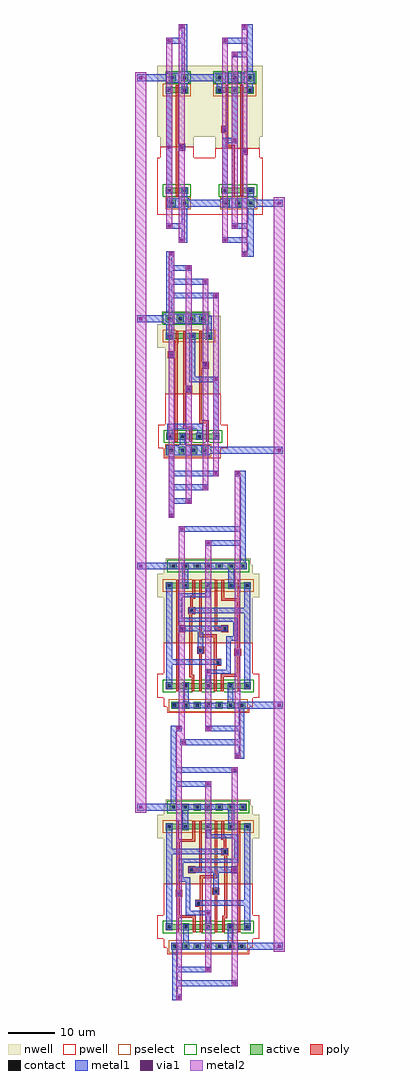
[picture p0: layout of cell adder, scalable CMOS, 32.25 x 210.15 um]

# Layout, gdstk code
from math import pi, radians
import gdstk
lib = gdstk.Library(unit=1e-6, precision=1e-09)
def R(c, l, rs):  # rectangles x0, y0, x1, y1
    for r in rs: c.add(gdstk.rectangle(r[:2], r[2:], *l))
def A(c, l, x, y, w, h, nx, ny, dx, dy):  # array of equal rectangles
    R(c, l, [(x+i*dx, y+j*dy, x+i*dx+w, y+j*dy+h) for i in range(nx) for j in range(ny)])
contact = (25, 0)
pwell = (41, 0)
nwell = (42, 0)
active = (43, 0)
pselect = (44, 0)
nselect = (45, 0)
poly = (46, 0)
metal1 = (49, 0)
via1 = (50, 0)
metal2 = (51, 0)

not_ = lib.new_cell('NOT')
R(not_, contact, [(-13.5,-12.45,-12.9,-11.85), (-10.8,-12.45,-10.2,-11.85), (-13.5,-9.75,-12.9,-9.15), (-10.2,-9.75,-9.6,-9.15), (-12.9,-0.45,-12.3,0.15), (-13.5,11.85,-12.9,12.45), (-10.2,11.85,-9.6,12.45), (-13.5,14.55,-12.9,15.15), (-10.8,14.55,-10.2,15.15)])
R(not_, pwell, [(-15.15,-13.8,-7.95,0), (-14.85,-13.8,-11.55,-10.5), (-12.15,-13.8,-8.85,-10.5), (-15.75,-12,-10.65,-6.9), (-12.45,-12,-7.35,-6.9), (-14.55,-11.85,-8.55,-7.05), (-12.675,-11.808,-7.8,-7.308), (-15.3,-11.7,-10.425,-7.2), (-12.15,-11.7,-7.65,-7.05)])
R(not_, nwell, [(-15.15,0,-7.95,16.8), (-15.75,9.6,-10.65,14.7), (-12.45,9.6,-7.35,14.7), (-14.55,9.75,-8.55,14.55), (-15.3,9.93,-10.425,14.43), (-12.675,9.93,-7.8,14.43), (-14.85,13.2,-11.55,16.5), (-12.15,13.2,-8.85,16.5)])
R(not_, active, [(-13.95,-12.9,-12.45,-11.4), (-11.25,-12.9,-9.75,-11.4), (-13.95,-10.2,-12.45,-8.7), (-10.65,-10.2,-9.15,-8.7), (-12.75,-10.05,-10.35,-8.85), (-10.875,-10.008,-9.6,-9.108), (-13.5,-9.9,-12.225,-9), (-10.35,-9.9,-9.45,-8.85), (-13.95,11.4,-12.45,12.9), (-10.65,11.4,-9.15,12.9), (-12.75,11.55,-10.35,12.75), (-13.5,11.73,-12.225,12.63), (-10.875,11.73,-9.6,12.63), (-13.95,14.1,-12.45,15.6), (-11.25,14.1,-9.75,15.6)])
R(not_, pselect, [(-14.55,-13.5,-11.85,-10.8), (-11.85,-13.5,-9.15,-10.8), (-14.55,10.8,-11.85,13.5), (-11.25,10.8,-8.55,13.5), (-13.35,10.95,-9.75,13.35), (-14.1,11.13,-11.625,13.23), (-11.475,11.13,-9,13.23)])
R(not_, nselect, [(-14.55,-10.8,-11.85,-8.1), (-11.25,-10.8,-8.55,-8.1), (-13.35,-10.65,-9.75,-8.25), (-11.475,-10.608,-9,-8.508), (-14.1,-10.5,-11.625,-8.4), (-10.95,-10.5,-8.85,-8.25), (-14.55,13.5,-11.85,16.2), (-11.85,13.5,-9.15,16.2)])
R(not_, poly, [(-11.85,-10.65,-11.25,-8.25), (-11.85,-8.55,-11.25,0.15), (-13.35,-0.9,-11.85,0.6), (-12.75,-0.45,-11.25,0.15), (-11.85,-0.45,-11.25,11.25), (-11.85,10.95,-11.25,13.35)])
R(not_, metal1, [(-14.25,-13.2,-9.45,-11.1), (-13.8,-12.75,-12.6,-11.55), (-13.8,-12.75,-12.6,-8.85), (-11.1,-12.75,-9.9,-11.55), (-13.8,-10.05,-12.6,-8.85), (-10.5,-10.05,-9.3,-8.85), (-10.5,-10.05,-9.3,0.45), (-13.35,-0.75,-12.15,0.45), (-13.2,-0.75,-12,0.45), (-13.2,-0.75,-12,0.45), (-10.5,-0.75,-9.3,0.45), (-10.5,-0.75,-9.3,12.78), (-10.35,-0.6,-9.45,0.3), (-13.8,11.55,-12.6,12.75), (-13.8,11.55,-12.6,15.45), (-10.5,11.55,-9.3,12.75), (-14.25,13.8,-9.45,15.9), (-13.8,14.25,-12.6,15.45), (-13.8,14.25,-12.45,15.45), (-11.1,14.25,-9.9,15.45)])
R(not_, via1, [(-12.9,-0.45,-12.3,0.15), (-10.2,-0.45,-9.6,0.15)])
R(not_, metal2, [(-13.2,-0.75,-12,0.45), (-10.5,-0.75,-9.3,0.45)])

nand = lib.new_cell('NAND')
A(nand, contact, -23.4, 12.3, 0.6, 0.6, 3, 2, 3.3, 2.7)
R(nand, contact, [(-23.55,-12,-22.95,-11.4), (-21,-12,-20.4,-11.4), (-18.3,-12,-17.7,-11.4), (-23.55,-9.3,-22.95,-8.7), (-18,-9.3,-17.4,-8.7), (-22.2,-0.9,-21.6,-0.3), (-18,3.9,-17.4,4.5)])
R(nand, pwell, [(-25.2,-13.65,-15.6,0.15), (-24.9,-13.35,-21.6,-10.05), (-22.35,-13.35,-19.05,-10.05), (-19.65,-13.35,-16.35,-10.05), (-25.8,-11.55,-20.7,-6.45), (-20.25,-11.55,-15.15,-6.45), (-24.3,-11.4,-18.3,-6.6), (-22.5,-11.4,-16.5,-6.6), (-25.35,-11.25,-20.175,-6.75), (-22.875,-11.25,-17.925,-6.75), (-20.625,-11.25,-15.6,-6.75)])
A(nand, nwell, -25.65, 10.05, 5.1, 5.1, 3, 1, 3.3, 0)
A(nand, nwell, -24.75, 13.65, 3.3, 3.3, 3, 1, 3.3, 0)
R(nand, nwell, [(-25.2,0.15,-15.6,16.95), (-24.3,10.2,-18.3,15), (-21.15,10.2,-15.15,15), (-25.2,10.35,-20.175,14.85), (-22.425,10.35,-17.55,14.85), (-22.05,10.35,-17.025,14.85), (-19.275,10.35,-14.4,14.85)])
A(nand, active, -23.85, 11.85, 1.5, 1.5, 3, 2, 3.3, 2.7)
R(nand, active, [(-24,-12.45,-22.5,-10.95), (-21.45,-12.45,-19.95,-10.95), (-18.75,-12.45,-17.25,-10.95), (-24,-9.75,-22.5,-8.25), (-18.45,-9.75,-16.95,-8.25), (-22.5,-9.6,-20.1,-8.4), (-20.7,-9.6,-18.3,-8.4), (-23.55,-9.45,-21.975,-8.55), (-21.075,-9.45,-19.725,-8.55), (-18.825,-9.45,-17.4,-8.55), (-22.5,12,-20.1,13.2), (-19.35,12,-16.95,13.2), (-23.4,12.15,-21.975,13.05), (-20.625,12.15,-19.35,13.05), (-20.25,12.15,-18.825,13.05), (-17.475,12.15,-16.2,13.05)])
A(nand, pselect, -24.45, 11.25, 2.7, 2.7, 3, 1, 3.3, 0)
R(nand, pselect, [(-24.6,-13.05,-21.9,-10.35), (-22.05,-13.05,-19.35,-10.35), (-19.35,-13.05,-16.65,-10.35), (-23.1,11.4,-19.5,13.8), (-19.95,11.4,-16.35,13.8), (-24,11.55,-21.375,13.65), (-21.225,11.55,-18.75,13.65), (-20.85,11.55,-18.225,13.65), (-18.075,11.55,-15.6,13.65)])
A(nand, nselect, -24.45, 13.95, 2.7, 2.7, 3, 1, 3.3, 0)
R(nand, nselect, [(-24.6,-10.35,-21.9,-7.65), (-19.05,-10.35,-16.35,-7.65), (-23.1,-10.2,-19.5,-7.8), (-21.3,-10.2,-17.7,-7.8), (-24.15,-10.05,-21.375,-7.95), (-21.675,-10.05,-19.125,-7.95), (-19.425,-10.05,-16.8,-7.95)])
R(nand, poly, [(-21.6,-10.2,-21,-7.8), (-19.8,-10.2,-19.2,-7.8), (-21.6,-8.1,-21,-0.3), (-19.8,-8.1,-19.2,0.9), (-22.65,-1.35,-21.15,0.15), (-22.2,-0.9,-21,-0.3), (-21.6,-0.9,-21,11.7), (-19.8,0.3,-17.85,0.9), (-18.45,0.3,-17.85,4.5), (-18.45,3.45,-16.95,4.95), (-18.45,3.9,-17.85,11.7), (-18.45,3.9,-17.4,4.5), (-21.6,11.4,-21,13.8), (-18.45,11.4,-17.85,13.8)])
A(nand, metal1, -23.7, 12, 1.2, 1.2, 3, 2, 3.3, 2.7)
R(nand, metal1, [(-24.3,-12.75,-19.65,-10.65), (-21.75,-12.75,-16.95,-10.65), (-23.85,-12.3,-22.65,-11.1), (-23.85,-12.3,-22.65,-8.4), (-21.3,-12.3,-20.1,-11.1), (-18.6,-12.3,-17.4,-11.1), (-23.85,-9.6,-22.65,-8.4), (-18.3,-9.6,-17.1,-8.4), (-18.3,-9.6,-17.1,2.4), (-22.5,-1.2,-21.3,0), (-22.5,-1.2,-21.3,0), (-22.35,-1.05,-21.45,-0.15), (-20.4,1.2,-19.2,2.4), (-20.4,1.2,-19.2,13.2), (-20.4,1.2,-17.1,2.4), (-18.3,3.6,-17.1,4.8), (-18.3,3.6,-17.1,4.8), (-18.15,3.75,-17.25,4.65), (-23.7,12,-22.5,15.9), (-17.1,12,-15.9,15.9), (-24.15,14.25,-18.75,16.35), (-20.85,14.25,-15.45,16.35), (-23.7,14.7,-22.35,15.9), (-17.25,14.7,-15.9,15.9)])
R(nand, via1, [(-22.2,-0.9,-21.6,-0.3), (-20.1,1.5,-19.5,2.1), (-18,3.9,-17.4,4.5)])
R(nand, metal2, [(-22.5,-1.2,-21.3,0), (-20.4,1.2,-19.2,2.4), (-18.3,3.6,-17.1,4.8)])

oai21 = lib.new_cell('OAI21')
A(oai21, contact, -8.25, -16.65, 0.6, 0.6, 4, 1, 2.4, 0)
A(oai21, contact, -5.85, -13.65, 0.6, 0.6, 3, 1, 3.6, 0)
A(oai21, contact, -8.7, 11.7, 0.6, 0.6, 4, 1, 2.4, 0)
R(oai21, contact, [(-8.55,-13.65,-7.95,-13.05), (-4.5,-3.45,-3.9,-2.85), (-0.9,1.65,-0.3,2.25), (-8.25,3.9,-7.65,4.5), (-8.7,7.95,-8.1,8.55), (-3.75,7.95,-3.15,8.55), (-0.15,7.95,0.45,8.55)])
A(oai21, pwell, -9.6, -18, 3.3, 3.3, 4, 1, 2.4, 0)
A(oai21, pwell, -8.1, -15.9, 5.1, 5.1, 3, 1, 3.6, 0)
R(oai21, pwell, [(-9.3,-18,2.7,-4.2), (-10.8,-15.9,-5.7,-10.8), (-9.9,-15.75,-3.9,-10.95), (-6.75,-15.75,-0.75,-10.95), (-3.15,-15.75,2.85,-10.95), (-10.65,-15.6,-5.775,-11.1), (-8.025,-15.6,-3.45,-11.1), (-7.95,-15.6,-2.625,-11.1), (-4.875,-15.6,0.45,-11.1), (-4.05,-15.6,0.975,-11.1), (-1.275,-15.6,4.05,-11.1)])
A(oai21, nwell, -10.05, 10.35, 3.3, 3.3, 4, 1, 2.4, 0)
R(oai21, nwell, [(-9.3,-4.2,2.7,12.6), (-10.95,5.7,-5.85,10.8), (-6,5.7,-0.9,10.8), (-2.4,5.7,2.7,10.8), (-9.75,5.85,-3.75,10.65), (-8.1,5.85,-2.1,10.65), (-4.65,5.85,1.35,10.65), (-10.8,6,-5.625,10.5), (-8.475,6,-3.375,10.5), (-6.225,6,-1.2,10.5), (-5.7,6,-0.525,10.5), (-2.775,6,2.55,10.5), (-10.05,10.35,-4.35,13.65)])
A(oai21, active, -8.7, -17.1, 1.5, 1.5, 4, 1, 2.4, 0)
A(oai21, active, -6.3, -14.1, 1.5, 1.5, 3, 1, 3.6, 0)
A(oai21, active, -9.15, 11.25, 1.5, 1.5, 4, 1, 2.4, 0)
R(oai21, active, [(-9,-14.1,-7.5,-12.6), (-8.1,-13.95,-5.7,-12.75), (-4.95,-13.95,-2.55,-12.75), (-1.35,-13.95,1.05,-12.75), (-8.85,-13.8,-7.575,-12.9), (-6.225,-13.8,-5.25,-12.9), (-6.15,-13.8,-4.425,-12.9), (-3.075,-13.8,-1.35,-12.9), (-2.25,-13.8,-0.825,-12.9), (0.525,-13.8,2.25,-12.9), (-9.15,7.5,-7.65,9), (-4.2,7.5,-2.7,9), (-0.6,7.5,0.9,9), (-7.95,7.65,-5.55,8.85), (-6.3,7.65,-3.9,8.85), (-2.85,7.65,-0.45,8.85), (-9,7.8,-7.425,8.7), (-6.675,7.8,-5.175,8.7), (-4.425,7.8,-3,8.7), (-3.9,7.8,-2.325,8.7), (-0.975,7.8,0.75,8.7)])
A(oai21, pselect, -9.3, -17.7, 2.7, 2.7, 4, 1, 2.4, 0)
R(oai21, pselect, [(-9.75,6.9,-7.05,9.6), (-4.8,6.9,-2.1,9.6), (-1.2,6.9,1.5,9.6), (-8.55,7.05,-4.95,9.45), (-6.9,7.05,-3.3,9.45), (-3.45,7.05,0.15,9.45), (-9.6,7.2,-6.825,9.3), (-7.275,7.2,-4.575,9.3), (-5.025,7.2,-2.4,9.3), (-4.5,7.2,-1.725,9.3), (-1.575,7.2,1.35,9.3)])
A(oai21, nselect, -6.9, -14.7, 2.7, 2.7, 3, 1, 3.6, 0)
A(oai21, nselect, -9.75, 10.65, 2.7, 2.7, 4, 1, 2.4, 0)
R(oai21, nselect, [(-9.6,-14.7,-6.9,-12), (-8.7,-14.55,-5.1,-12.15), (-5.55,-14.55,-1.95,-12.15), (-1.95,-14.55,1.65,-12.15), (-9.45,-14.4,-6.975,-12.3), (-6.825,-14.4,-4.65,-12.3), (-6.75,-14.4,-3.825,-12.3), (-3.675,-14.4,-0.75,-12.3), (-2.85,-14.4,-0.225,-12.3), (-0.075,-14.4,2.85,-12.3)])
R(oai21, poly, [(-7.2,-14.55,-6.6,-12.15), (-4.05,-14.55,-3.45,-12.15), (-0.45,-14.55,0.15,-12.15), (-7.2,-12.45,-6.6,4.5), (-4.05,-12.45,-3.45,-11.25), (-0.45,-12.45,0.15,-9.9), (-5.4,-11.85,-3.45,-11.25), (-5.4,-11.85,-4.8,-2.85), (-1.95,-10.5,0.15,-9.9), (-1.95,-10.5,-1.35,2.25), (-4.95,-3.9,-3.45,-2.4), (-5.4,-3.45,-4.8,7.35), (-5.4,-3.45,-3.75,-2.85), (-1.35,1.2,0.15,2.7), (-1.95,1.65,-1.35,7.35), (-1.95,1.65,-0.15,2.25), (-8.7,3.45,-7.2,4.95), (-8.4,3.9,-6.6,4.5), (-7.2,3.9,-6.6,6.15), (-7.2,5.55,-6.6,7.35), (-7.2,6.75,-6.45,7.35), (-7.05,7.05,-6.45,9.45), (-5.4,7.05,-4.8,9.45), (-1.95,7.05,-1.35,9.45)])
A(oai21, metal1, -9, -17.4, 4.5, 2.1, 3, 1, 2.4, 0)
A(oai21, metal1, -8.55, -16.95, 1.2, 1.2, 4, 1, 2.4, 0)
A(oai21, metal1, -6.15, -13.95, 1.2, 1.2, 3, 1, 3.6, 0)
A(oai21, metal1, -9.45, 10.95, 4.5, 2.1, 3, 1, 2.4, 0)
A(oai21, metal1, -9, 11.4, 1.2, 1.2, 4, 1, 2.4, 0)
R(oai21, metal1, [(-6.15,-16.95,-4.95,-12.75), (-8.85,-13.95,-7.65,-12.75), (-8.85,-13.95,-7.65,-10.65), (-2.4,-13.95,-1.2,-10.65), (1.05,-13.95,2.25,-0.45), (-8.85,-11.85,-1.2,-10.65), (-4.8,-3.75,-3.6,-2.55), (-4.8,-3.75,-3.6,-2.55), (-4.65,-3.6,-3.75,-2.7), (-4.05,-1.65,-2.85,8.85), (-4.05,-1.65,2.25,-0.45), (1.05,-1.65,2.25,-0.45), (-1.2,1.35,0,2.55), (-1.2,1.35,0,2.55), (-1.05,1.5,-0.15,2.4), (-8.55,3.6,-7.35,4.8), (-8.55,3.6,-7.35,4.8), (-8.4,3.75,-7.5,4.65), (-9,7.65,-7.8,8.85), (-9,7.65,-7.8,12.6), (-4.05,7.65,-2.85,8.85), (-0.45,7.65,0.75,8.85), (-0.45,7.65,0.75,12.6), (-1.8,11.4,0.75,12.6)])
R(oai21, via1, [(-4.5,-3.45,-3.9,-2.85), (1.35,-1.35,1.95,-0.75), (-0.9,1.65,-0.3,2.25), (-8.25,3.9,-7.65,4.5)])
R(oai21, metal2, [(-4.8,-3.75,-3.6,-2.55), (1.05,-1.65,2.25,-0.45), (-1.2,1.35,0,2.55), (-8.55,3.6,-7.35,4.8)])

xnor = lib.new_cell('XNOR')
A(xnor, contact, -53.85, -16.5, 0.6, 0.6, 7, 1, 2.4, 0)
A(xnor, contact, -51.45, -12.3, 0.6, 0.6, 3, 1, 4.8, 0)
A(xnor, contact, -51.6, 9.3, 0.6, 0.6, 3, 1, 4.95, 0)
A(xnor, contact, -54.15, 13.5, 0.6, 0.6, 3, 1, 2.55, 0)
A(xnor, contact, -44.25, 13.5, 0.6, 0.6, 3, 1, 2.55, 0)
R(xnor, contact, [(-55.05,-12.3,-54.45,-11.7), (-38.25,-12.3,-37.65,-11.7), (-48.75,-7.2,-48.15,-6.6), (-52.95,-5.1,-52.35,-4.5), (-45,-4.65,-44.4,-4.05), (-50.25,0,-49.65,0.6), (-40.95,0,-40.35,0.6), (-43.05,3.9,-42.45,4.5), (-55.05,9.3,-54.45,9.9), (-38.25,9.3,-37.65,9.9), (-46.65,13.5,-46.05,14.1)])
A(xnor, pwell, -55.2, -17.85, 3.3, 3.3, 7, 1, 2.4, 0)
A(xnor, pwell, -53.7, -14.55, 5.1, 5.1, 3, 1, 4.8, 0)
R(xnor, pwell, [(-55.95,-16.5,-36.75,-2.7), (-57.3,-14.55,-52.2,-9.45), (-40.5,-14.55,-35.4,-9.45), (-55.95,-14.4,-49.95,-9.6), (-52.35,-14.4,-46.35,-9.6), (-50.85,-14.4,-44.85,-9.6), (-47.7,-14.4,-41.7,-9.6), (-46.05,-14.4,-40.05,-9.6), (-42.75,-14.4,-36.75,-9.6), (-57.15,-14.25,-51.825,-9.75), (-54.075,-14.25,-48.75,-9.75), (-53.25,-14.25,-48.225,-9.75), (-51.225,-14.25,-45.975,-9.75), (-48.975,-14.25,-44.1,-9.75), (-48.6,-14.25,-43.575,-9.75), (-46.425,-14.25,-41.325,-9.75), (-44.175,-14.25,-39.45,-9.75), (-43.95,-14.25,-38.625,-9.75), (-40.875,-14.25,-35.55,-9.75)])
A(xnor, nwell, -53.85, 7.05, 5.1, 5.1, 3, 1, 4.95, 0)
A(xnor, nwell, -55.5, 12.15, 3.3, 3.3, 3, 1, 2.55, 0)
A(xnor, nwell, -45.6, 12.15, 3.3, 3.3, 3, 1, 2.55, 0)
R(xnor, nwell, [(-55.95,-2.7,-36.75,14.1), (-57.3,7.05,-52.2,12.15), (-40.5,7.05,-35.4,12.15), (-55.95,7.2,-49.95,12), (-52.5,7.2,-46.5,12), (-51,7.2,-45,12), (-47.7,7.2,-41.7,12), (-46.2,7.2,-40.2,12), (-42.75,7.2,-36.75,12), (-57.15,7.35,-51.825,11.85), (-54.075,7.35,-48.9,11.85), (-54.075,7.35,-48.375,11.85), (-51.375,7.35,-46.125,11.85), (-49.125,7.35,-44.1,11.85), (-48.6,7.35,-43.575,11.85), (-46.575,7.35,-41.325,11.85), (-44.325,7.35,-38.625,11.85), (-43.8,7.35,-38.625,11.85), (-40.875,7.35,-35.55,11.85), (-48,12.15,-44.7,15.45)])
A(xnor, active, -54.3, -16.95, 1.5, 1.5, 7, 1, 2.4, 0)
A(xnor, active, -51.9, -12.75, 1.5, 1.5, 3, 1, 4.8, 0)
A(xnor, active, -52.05, 8.85, 1.5, 1.5, 3, 1, 4.95, 0)
A(xnor, active, -54.6, 13.05, 1.5, 1.5, 3, 1, 2.55, 0)
A(xnor, active, -44.7, 13.05, 1.5, 1.5, 3, 1, 2.55, 0)
R(xnor, active, [(-55.5,-12.75,-54,-11.25), (-38.7,-12.75,-37.2,-11.25), (-54.15,-12.6,-51.75,-11.4), (-50.55,-12.6,-48.15,-11.4), (-49.05,-12.6,-46.65,-11.4), (-45.9,-12.6,-43.5,-11.4), (-44.25,-12.6,-41.85,-11.4), (-40.95,-12.6,-38.55,-11.4), (-55.35,-12.45,-53.625,-11.55), (-52.275,-12.45,-50.55,-11.55), (-51.45,-12.45,-50.025,-11.55), (-49.425,-12.45,-47.775,-11.55), (-47.175,-12.45,-45.9,-11.55), (-46.8,-12.45,-45.375,-11.55), (-44.625,-12.45,-43.125,-11.55), (-42.375,-12.45,-41.25,-11.55), (-42.15,-12.45,-40.425,-11.55), (-39.075,-12.45,-37.35,-11.55), (-55.5,8.85,-54,10.35), (-38.7,8.85,-37.2,10.35), (-54.15,9,-51.75,10.2), (-50.7,9,-48.3,10.2), (-49.2,9,-46.8,10.2), (-45.9,9,-43.5,10.2), (-44.4,9,-42,10.2), (-40.95,9,-38.55,10.2), (-55.35,9.15,-53.625,10.05), (-52.275,9.15,-50.7,10.05), (-52.275,9.15,-50.175,10.05), (-49.575,9.15,-47.925,10.05), (-47.325,9.15,-45.9,10.05), (-46.8,9.15,-45.375,10.05), (-44.775,9.15,-43.125,10.05), (-42.525,9.15,-40.425,10.05), (-42,9.15,-40.425,10.05), (-39.075,9.15,-37.35,10.05), (-47.1,13.05,-45.6,14.55)])
A(xnor, pselect, -54.9, -17.55, 2.7, 2.7, 7, 1, 2.4, 0)
A(xnor, pselect, -52.65, 8.25, 2.7, 2.7, 3, 1, 4.95, 0)
R(xnor, pselect, [(-56.1,8.25,-53.4,10.95), (-39.3,8.25,-36.6,10.95), (-54.75,8.4,-51.15,10.8), (-51.3,8.4,-47.7,10.8), (-49.8,8.4,-46.2,10.8), (-46.5,8.4,-42.9,10.8), (-45,8.4,-41.4,10.8), (-41.55,8.4,-37.95,10.8), (-55.95,8.55,-53.025,10.65), (-52.875,8.55,-50.1,10.65), (-52.875,8.55,-49.575,10.65), (-50.175,8.55,-47.325,10.65), (-47.925,8.55,-45.3,10.65), (-47.4,8.55,-44.775,10.65), (-45.375,8.55,-42.525,10.65), (-43.125,8.55,-39.825,10.65), (-42.6,8.55,-39.825,10.65), (-39.675,8.55,-36.75,10.65)])
A(xnor, nselect, -52.5, -13.35, 2.7, 2.7, 3, 1, 4.8, 0)
A(xnor, nselect, -55.2, 12.45, 2.7, 2.7, 3, 1, 2.55, 0)
A(xnor, nselect, -45.3, 12.45, 2.7, 2.7, 3, 1, 2.55, 0)
R(xnor, nselect, [(-56.1,-13.35,-53.4,-10.65), (-39.3,-13.35,-36.6,-10.65), (-54.75,-13.2,-51.15,-10.8), (-51.15,-13.2,-47.55,-10.8), (-49.65,-13.2,-46.05,-10.8), (-46.5,-13.2,-42.9,-10.8), (-44.85,-13.2,-41.25,-10.8), (-41.55,-13.2,-37.95,-10.8), (-55.95,-13.05,-53.025,-10.95), (-52.875,-13.05,-49.95,-10.95), (-52.05,-13.05,-49.425,-10.95), (-50.025,-13.05,-47.175,-10.95), (-47.775,-13.05,-45.3,-10.95), (-47.4,-13.05,-44.775,-10.95), (-45.225,-13.05,-42.525,-10.95), (-42.975,-13.05,-40.65,-10.95), (-42.75,-13.05,-39.825,-10.95), (-39.675,-13.05,-36.75,-10.95), (-47.7,12.45,-45,15.15)])
R(xnor, poly, [(-53.25,-13.2,-52.65,-10.8), (-49.65,-13.2,-49.05,-10.8), (-48.15,-13.2,-47.55,-10.8), (-45,-13.2,-44.4,-10.8), (-43.35,-13.2,-42.75,-10.8), (-40.05,-13.2,-39.45,-10.8), (-53.25,-11.1,-52.65,-9.45), (-49.65,-11.1,-49.05,-9.45), (-48.15,-11.1,-47.55,-6.6), (-45,-11.1,-44.4,-4.05), (-43.35,-11.1,-42.75,-9.6), (-40.05,-11.1,-39.45,0.75), (-43.35,-10.2,-42.3,-9.6), (-42.9,-10.2,-42.3,4.5), (-53.25,-10.05,-52.5,-9.45), (-53.1,-10.05,-49.05,-9.45), (-53.1,-10.05,-52.5,-4.5), (-49.2,-7.65,-47.7,-6.15), (-48.9,-7.2,-47.55,-6.6), (-48.15,-7.2,-47.55,-0.9), (-53.4,-5.55,-51.9,-4.05), (-53.1,-5.1,-52.5,6.9), (-45.45,-5.1,-43.95,-3.6), (-48.15,-1.5,-44.4,-0.9), (-45,-1.5,-44.4,8.7), (-50.7,-0.45,-49.2,1.05), (-41.4,-0.45,-39.9,1.05), (-50.25,-0.15,-49.65,0.6), (-50.25,0,-47.7,0.6), (-48.3,0,-47.7,8.7), (-40.95,0.15,-39.45,0.75), (-40.95,0.15,-39.45,0.75), (-40.05,0.15,-39.45,8.4), (-43.5,3.45,-42,4.95), (-43.5,3.9,-42.6,4.5), (-43.5,3.9,-42.9,4.5), (-43.05,3.9,-42.45,7.35), (-53.25,6.3,-52.65,8.7), (-53.25,6.3,-52.5,6.9), (-53.1,6.3,-49.2,6.9), (-49.8,6.3,-49.2,8.7), (-43.5,6.75,-42.45,7.35), (-43.5,6.75,-42.9,8.7), (-40.05,7.8,-39.45,8.4), (-40.05,7.8,-39.45,8.7), (-53.25,8.4,-52.65,10.8), (-49.8,8.4,-49.2,10.8), (-48.3,8.4,-47.7,10.8), (-45,8.4,-44.4,10.8), (-43.5,8.4,-42.9,10.8), (-40.05,8.4,-39.45,10.8)])
A(xnor, metal1, -54.15, -16.8, 1.2, 1.2, 7, 1, 2.4, 0)
A(xnor, metal1, -54.15, -16.8, 3.6, 1.2, 6, 1, 2.4, 0)
A(xnor, metal1, -51.75, -12.6, 1.2, 1.2, 3, 1, 4.8, 0)
A(xnor, metal1, -51.9, 9, 1.2, 1.2, 3, 1, 4.95, 0)
A(xnor, metal1, -54.45, 13.2, 1.2, 1.2, 3, 1, 2.55, 0)
A(xnor, metal1, -49.35, 13.2, 3.6, 1.2, 3, 1, 2.4, 0)
A(xnor, metal1, -44.55, 13.2, 1.2, 1.2, 3, 1, 2.55, 0)
R(xnor, metal1, [(-51.75,-16.8,-50.55,-11.4), (-42.15,-16.8,-40.95,-11.4), (-55.35,-12.6,-54.15,-11.4), (-55.35,-12.6,-54.15,4.8), (-38.55,-12.6,-37.35,-11.4), (-38.55,-12.6,-37.35,-6.3), (-46.8,-12.45,-45.9,-8.55), (-46.95,-9.6,-45.75,-8.4), (-51.15,-9.45,-45.9,-8.55), (-51.15,-9.45,-50.25,-1.35), (-49.2,-7.5,-37.35,-6.3), (-49.05,-7.5,-47.85,-6.3), (-38.55,-7.5,-37.35,10.2), (-53.25,-5.4,-52.05,-4.2), (-53.25,-5.4,-52.05,-4.2), (-53.25,-5.25,-52.2,-4.35), (-45.3,-4.95,-44.1,-3.75), (-45.3,-4.95,-44.1,0.9), (-52.65,-2.25,-50.25,-1.35), (-52.65,-2.25,-51.75,0.75), (-50.55,-0.3,-49.35,0.9), (-50.55,-0.3,-44.1,0.9), (-45.3,-0.3,-40.05,0.9), (-41.25,-0.3,-40.05,0.9), (-41.25,-0.3,-40.05,0.9), (-52.65,-0.15,-51.75,2.7), (-41.1,-0.15,-40.2,0.75), (-52.65,1.8,-39.9,2.7), (-40.8,1.8,-39.9,7.95), (-55.35,3.6,-42.3,4.8), (-55.35,3.6,-54.15,10.2), (-43.35,3.6,-42.15,4.8), (-46.8,7.05,-45.9,10.05), (-46.8,7.05,-39.9,7.95), (-55.35,9,-54.15,10.2), (-51.9,9,-50.7,14.4), (-42,9,-40.8,14.4), (-38.55,9,-37.35,10.2), (-54.3,13.2,-50.7,14.4), (-51.9,13.2,-48.15,14.4), (-46.95,13.2,-45.75,14.4), (-42.15,13.2,-38.4,14.4)])
R(xnor, via1, [(-46.65,-9.3,-46.05,-8.7), (-52.95,-5.1,-52.35,-4.5), (-40.95,0,-40.35,0.6)])
R(xnor, metal2, [(-46.95,-9.6,-45.75,-8.4), (-53.25,-5.4,-52.05,-4.2), (-41.25,-0.3,-40.05,0.9)])

adder = lib.new_cell('adder')
R(adder, pwell, [(0,170.85,22.65,183.15)])
R(adder, nwell, [(0,187.65,22.65,202.95)])
R(adder, metal1, [(3.15,1.8,4.35,13.95), (3.15,1.8,5.25,3), (4.05,1.8,5.25,3), (3.15,4.8,4.35,13.95), (3.15,4.8,17.25,6), (16.05,4.8,17.25,6), (3.15,7.8,4.35,13.95), (3.15,7.8,11.55,9), (10.35,7.8,11.55,9), (3,12.6,27,14.1), (25.65,12.75,26.85,13.95), (16.05,29.25,17.25,30.45), (16.05,29.25,17.25,30.45), (16.2,29.4,17.1,30.3), (16.2,29.4,17.1,30.3), (-4.35,42.6,4.2,44.1), (-4.2,42.75,-3,43.95), (2.85,42.75,4.05,48.9), (2.85,42.75,4.05,51.9), (2.85,42.75,4.05,60.9), (2.85,47.7,11.55,48.9), (10.35,47.7,11.55,48.9), (2.85,50.7,17.25,51.9), (16.05,50.7,17.25,51.9), (16.65,53.7,17.85,54.9), (16.65,53.7,18.75,54.9), (17.55,53.7,18.75,65.85), (4.95,56.7,6.15,57.9), (5.25,56.7,18.75,57.9), (17.55,56.7,18.75,65.85), (2.85,59.7,5.25,60.9), (4.05,59.7,5.25,60.9), (10.35,59.7,11.55,60.9), (10.35,59.7,18.75,60.9), (17.55,59.7,18.75,65.85), (17.4,64.5,27,66), (25.65,64.65,26.85,65.85), (4.65,81.15,5.85,82.35), (4.65,81.15,5.85,82.35), (4.8,81.3,5.7,82.2), (4.8,81.3,5.7,82.2), (-4.35,94.5,19.2,96), (-4.2,94.65,-3,95.85), (17.85,94.65,19.05,100.8), (17.85,94.65,19.05,103.8), (17.85,94.65,19.05,115.8), (10.35,99.6,11.55,100.8), (10.35,99.6,19.05,100.8), (4.65,102.6,5.85,103.8), (4.65,102.6,19.05,103.8), (2.4,105.6,3.6,106.8), (2.4,105.6,3.6,106.8), (2.4,105.6,3.6,120.75), (2.4,108.6,3.6,120.75), (2.4,108.6,7.35,109.8), (6.15,108.6,7.35,109.8), (2.4,111.6,3.6,120.75), (2.4,111.6,10.95,112.8), (9.75,111.6,10.95,112.8), (2.4,114.6,3.6,120.75), (2.4,114.6,13.2,115.8), (12,114.6,13.2,115.8), (16.65,114.6,17.85,115.8), (16.65,114.6,19.05,115.8), (2.25,119.4,27,120.9), (25.65,119.55,26.85,120.75), (-4.35,147.75,3.3,149.25), (-4.2,147.9,-3,149.1), (1.95,147.9,3.15,154.05), (1.95,147.9,3.15,157.05), (1.95,147.9,3.15,160.05), (1.95,147.9,3.15,163.05), (1.95,152.85,13.2,154.05), (12,152.85,13.2,154.05), (1.95,155.85,10.95,157.05), (9.75,155.85,10.95,157.05), (1.95,158.85,7.35,160.05), (6.15,158.85,7.35,160.05), (1.95,161.85,3.6,163.05), (2.4,161.85,3.6,163.05), (18.15,161.85,19.35,163.05), (18.15,161.85,20.7,163.05), (19.5,161.85,20.7,174), (4.65,164.85,5.85,166.05), (4.65,164.85,6.45,166.05), (5.25,164.85,6.45,174), (13.95,164.85,15.15,166.05), (13.95,164.85,20.7,166.05), (19.5,164.85,20.7,174), (1.95,167.85,3.15,169.05), (1.95,167.85,6.45,169.05), (5.25,167.85,6.45,174), (16.05,167.85,17.25,169.05), (16.05,167.85,20.7,169.05), (19.5,167.85,20.7,174), (5.1,172.65,20.85,174.15), (19.35,172.65,27,174.15), (25.65,172.8,26.85,174), (18.15,183.9,19.35,185.1), (18.15,183.9,19.35,185.1), (18.3,184.05,19.2,184.95), (18.3,184.05,19.2,184.95), (13.95,188.7,15.15,189.9), (13.95,188.7,15.15,189.9), (14.1,188.85,15,189.75), (14.1,188.85,15,189.75), (-4.35,199.65,6.6,201.15), (5.1,199.65,20.7,201.15), (-4.2,199.8,-3,201), (5.25,199.8,6.45,208.95), (5.25,199.8,6.45,211.95), (19.35,199.8,20.55,205.95), (19.35,199.8,20.55,208.95), (19.35,199.8,20.55,211.95), (16.05,204.75,17.25,205.95), (16.05,204.75,20.55,205.95), (1.95,207.75,3.15,208.95), (1.95,207.75,6.45,208.95), (13.95,207.75,15.15,208.95), (13.95,207.75,20.55,208.95), (4.65,210.75,5.85,211.95), (4.65,210.75,6.45,211.95), (18.15,210.75,19.35,211.95), (18.15,210.75,20.55,211.95)])
R(adder, via1, [(4.35,2.1,4.95,2.7), (16.35,5.1,16.95,5.7), (10.65,8.1,11.25,8.7), (25.95,13.05,26.55,13.65), (16.35,29.55,16.95,30.15), (16.35,29.55,16.95,30.15), (-3.9,43.05,-3.3,43.65), (10.65,48,11.25,48.6), (16.35,51,16.95,51.6), (16.95,54,17.55,54.6), (5.25,57,5.85,57.6), (4.35,60,4.95,60.6), (10.65,60,11.25,60.6), (25.95,64.95,26.55,65.55), (4.95,81.45,5.55,82.05), (4.95,81.45,5.55,82.05), (-3.9,94.95,-3.3,95.55), (10.65,99.9,11.25,100.5), (4.95,102.9,5.55,103.5), (2.7,105.9,3.3,106.5), (6.45,108.9,7.05,109.5), (10.05,111.9,10.65,112.5), (12.3,114.9,12.9,115.5), (16.95,114.9,17.55,115.5), (25.95,119.85,26.55,120.45), (-3.9,148.2,-3.3,148.8), (12.3,153.15,12.9,153.75), (10.05,156.15,10.65,156.75), (6.45,159.15,7.05,159.75), (2.7,162.15,3.3,162.75), (18.45,162.15,19.05,162.75), (4.95,165.15,5.55,165.75), (14.25,165.15,14.85,165.75), (2.25,168.15,2.85,168.75), (16.35,168.15,16.95,168.75), (25.95,173.1,26.55,173.7), (18.45,184.2,19.05,184.8), (18.45,184.2,19.05,184.8), (14.25,189,14.85,189.6), (14.25,189,14.85,189.6), (-3.9,200.1,-3.3,200.7), (16.35,205.05,16.95,205.65), (2.25,208.05,2.85,208.65), (14.25,208.05,14.85,208.65), (4.95,211.05,5.55,211.65), (18.45,211.05,19.05,211.65)])
R(adder, metal2, [(4.05,1.8,5.25,3), (4.05,1.8,5.25,25.35), (16.05,4.8,17.25,6), (16.05,4.8,17.25,30.45), (10.35,7.8,11.55,9), (10.35,7.8,11.55,21.15), (25.05,12.15,27.45,66.45), (25.65,12.75,26.85,13.95), (25.8,12.9,26.7,13.8), (10.35,19.95,11.55,48.9), (4.05,24.15,5.25,60.9), (16.05,29.25,17.25,30.45), (16.05,29.25,17.25,30.45), (16.05,29.25,17.25,51.9), (-4.8,42.15,-2.4,96.45), (-4.2,42.75,-3,43.95), (-4.05,42.9,-3.15,43.8), (10.35,47.7,11.55,48.9), (16.05,50.7,17.25,51.9), (16.65,53.7,17.85,54.9), (16.65,53.7,17.85,77.25), (4.65,56.7,5.85,82.35), (4.95,56.7,6.15,57.9), (4.05,59.7,5.25,60.9), (10.35,59.7,11.55,60.9), (10.35,59.7,11.55,73.05), (25.05,64.05,27.45,121.35), (25.65,64.65,26.85,65.85), (25.8,64.8,26.7,65.7), (10.35,71.85,11.55,100.8), (16.65,76.05,17.85,115.8), (4.65,81.15,5.85,82.35), (4.65,81.15,5.85,82.35), (4.65,81.15,5.85,103.8), (-4.8,94.05,-2.4,149.7), (-4.2,94.65,-3,95.85), (-4.05,94.8,-3.15,95.7), (10.35,99.6,11.55,100.8), (4.65,102.6,5.85,103.8), (2.4,105.6,3.6,106.8), (2.4,105.6,3.6,141.3), (6.15,108.6,7.35,109.8), (6.15,108.6,7.35,133.95), (9.75,111.6,10.95,112.8), (9.75,111.6,10.95,139.05), (12,114.6,13.2,115.8), (12,114.6,13.2,136.05), (16.65,114.6,17.85,115.8), (25.05,118.95,27.45,174.6), (25.65,119.55,26.85,120.75), (25.8,119.7,26.7,120.6), (6.15,132.75,7.35,160.05), (12,134.85,13.2,154.05), (9.75,137.85,10.95,157.05), (2.4,140.1,3.6,163.05), (-4.8,147.3,-2.4,201.6), (-4.2,147.9,-3,149.1), (-4.05,148.05,-3.15,148.95), (12,152.85,13.2,154.05), (9.75,155.85,10.95,157.05), (6.15,158.85,7.35,160.05), (2.4,161.85,3.6,163.05), (18.15,161.85,19.35,163.05), (18.15,161.85,19.35,185.1), (4.65,164.85,5.85,166.05), (4.65,164.85,5.85,186), (13.95,164.85,15.15,166.05), (13.95,164.85,15.15,189.9), (1.95,167.85,3.15,169.05), (1.95,167.85,3.15,186), (16.05,167.85,17.25,169.05), (16.05,167.85,17.25,187.5), (25.65,172.8,26.85,174), (25.8,172.95,26.7,173.85), (18.15,183.9,19.35,185.1), (18.15,183.9,19.35,185.1), (18.15,183.9,19.35,211.95), (1.95,184.8,3.15,208.95), (4.65,184.8,5.85,211.95), (16.05,186.3,17.25,205.95), (13.95,188.7,15.15,189.9), (13.95,188.7,15.15,189.9), (13.95,188.7,15.15,208.95), (-4.2,199.8,-3,201), (-4.05,199.95,-3.15,200.85), (16.05,204.75,17.25,205.95), (1.95,207.75,3.15,208.95), (13.95,207.75,15.15,208.95), (4.65,210.75,5.85,211.95), (18.15,210.75,19.35,211.95)])
adder.add(gdstk.Reference(not_, (-7.35,185.55), rotation=pi, x_reflection=True))
adder.add(gdstk.Reference(nand, (-3.15,185.1), rotation=pi, x_reflection=True))
adder.add(gdstk.Reference(oai21, (10.95,136.5)))
adder.add(gdstk.Reference(xnor, (57.3,29.55)))
adder.add(gdstk.Reference(xnor, (-35.4,81.45), rotation=pi, x_reflection=True))

lib.write_gds('adder.gds')
